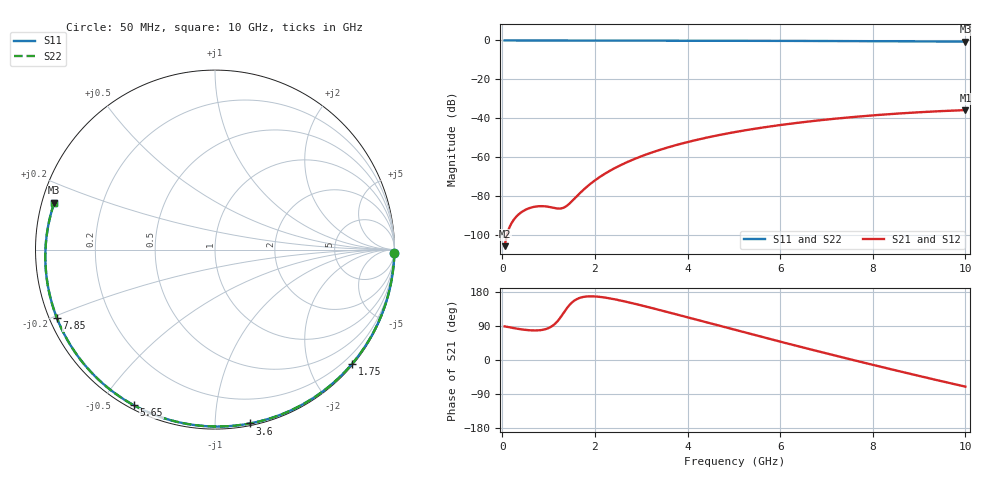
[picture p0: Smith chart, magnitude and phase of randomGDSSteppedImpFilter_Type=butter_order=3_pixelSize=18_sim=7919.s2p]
! freq	dB(S11)	phase(S11)	dB(S12)	phase(S12)
!  dB(S21)	phase(S21)	dB(S22)	phase(S22)
!S-par simulation data
#  GHz  S  DB  R 50
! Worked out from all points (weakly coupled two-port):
!   200 points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, 50 MHz to 10 GHz, reference 50 ohm
!   highest |S21| = -35.76 dB at 10 GHz (marker M1); lowest = -105.6 dB at 50 MHz (marker M2)
!   lowest |S11| = -0.6 dB at 10 GHz (marker M3), VSWR 28.82, Z = 1.77 + j7.13 ohm
!   |S11| at or under -10 dB: nowhere
!   |S22| runs from -0.6 to 0.0 dB; largest |S21 - S12| = 0
!   S11 on the Smith chart (normalised r, x): 50 MHz: open; 1.75 GHz: 0.03, -2.77; 3.6 GHz: 0.01, -1.22; 5.65 GHz: 0.02, -0.61; 7.85 GHz: 0.02, -0.21; 10 GHz: 0.04, +0.14
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0.05  -0.00 -1.1  -105.62 88.8  -105.62 88.8  -0.00 -1.1
0.45  -0.02 -10.4  -87.61 80.2  -87.61 80.2  -0.02 -10.4
0.8  -0.02 -18.4  -85.10 78.5  -85.10 78.5  -0.02 -18.4
1.2  -0.03 -27.4  -86.29 103.4  -86.29 103.4  -0.03 -27.4
1.6  -0.05 -36.4  -80.21 160.1  -80.21 160.1  -0.05 -36.4
1.75  -0.05 -39.7  -76.73 166.4  -76.73 166.4  -0.05 -39.7
1.9  -0.05 -43.0  -73.67 168.1  -73.67 168.1  -0.05 -43.0
2.05  -0.06 -46.3  -71.00 167.3  -71.00 167.3  -0.06 -46.3
2.25  -0.06 -50.6  -67.93 164.1  -67.93 164.1  -0.06 -50.6
2.45  -0.07 -54.9  -65.29 159.6  -65.29 159.6  -0.07 -54.9
2.9  -0.08 -64.3  -60.42 147.2  -60.42 147.2  -0.08 -64.3
3.4  -0.10 -74.6  -56.19 131.8  -56.19 131.8  -0.10 -74.6
3.6  -0.10 -78.6  -54.75 125.5  -54.75 125.5  -0.10 -78.6
4.3  -0.13 -92.3  -50.49 102.9  -50.49 102.9  -0.13 -92.3
5.05  -0.16 -106.5  -46.93 78.7  -46.93 78.7  -0.16 -106.5
5.65  -0.19 -117.5  -44.61 59.5  -44.61 59.5  -0.19 -117.5
6.7  -0.26 -136.3  -41.39 26.7  -41.39 26.7  -0.26 -136.3
7.3  -0.31 -146.8  -39.92 8.3  -39.92 8.3  -0.31 -146.8
7.85  -0.36 -156.5  -38.76 -8.3  -38.76 -8.3  -0.36 -156.5
8.35  -0.41 -165.5  -37.85 -23.1  -37.85 -23.1  -0.41 -165.5
9.2  -0.50 179.0  -36.61 -47.8  -36.61 -47.8  -0.50 179.0
10  -0.60 163.8  -35.76 -70.3  -35.76 -70.3  -0.60 163.8
